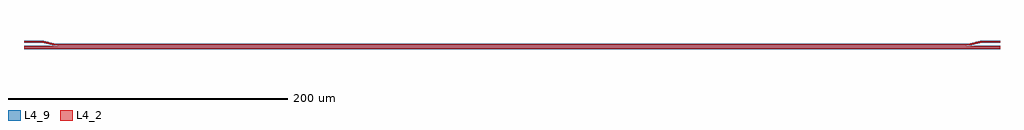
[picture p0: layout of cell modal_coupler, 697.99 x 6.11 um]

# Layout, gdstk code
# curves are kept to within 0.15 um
import gdstk
lib = gdstk.Library(unit=1e-6, precision=5e-09)
def R(c, l, rs):  # rectangles x0, y0, x1, y1
    for r in rs: c.add(gdstk.rectangle(r[:2], r[2:], *l))
def P(c, l, *ps):  # polygons
    for p in ps: c.add(gdstk.Polygon(p, *l))
L4_2 = (4, 2)
L4_9 = (4, 9)

directional_coupler_wg1a = lib.new_cell('Directional_coupler_wg1a')
R(directional_coupler_wg1a, L4_2, [(-322.5,-1.9,0,0)])
P(directional_coupler_wg1a, L4_9, [(-322.5,-2.15),(0,-2.15),(0,-1.9),(0,0),(0,0.25),(-322.5,0.25),(-322.5,0),(-322.5,-1.9)])

directional_coupler_wg2a = lib.new_cell('Directional_coupler_wg2a')
R(directional_coupler_wg2a, L4_2, [(-322.5,0.5,0,1.4)])
P(directional_coupler_wg2a, L4_9, [(-322.5,0.25),(0,0.25),(0,0.5),(0,1.4),(0,1.65),(-322.5,1.65),(-322.5,1.4),(-322.5,0.5)])

directional_coupler_wg1b = lib.new_cell('Directional_coupler_wg1b')
R(directional_coupler_wg1b, L4_2, [(0,-1.9,322.5,0)])
P(directional_coupler_wg1b, L4_9, [(0,-2.15),(322.5,-2.15),(322.5,-1.9),(322.5,0),(322.5,0.25),(0,0.25),(0,0),(0,-1.9)])

directional_coupler_wg2b = lib.new_cell('Directional_coupler_wg2b')
R(directional_coupler_wg2b, L4_2, [(0,0.5,322.5,1.4)])
P(directional_coupler_wg2b, L4_9, [(0,0.25),(322.5,0.25),(322.5,0.5),(322.5,1.4),(322.5,1.65),(0,1.65),(0,1.4),(0,0.5)])

directional_coupler = lib.new_cell('Directional_coupler')
directional_coupler.add(gdstk.Reference(directional_coupler_wg1a, (0,0)))
directional_coupler.add(gdstk.Reference(directional_coupler_wg2a, (0,0)))
directional_coupler.add(gdstk.Reference(directional_coupler_wg1b, (0,0)))
directional_coupler.add(gdstk.Reference(directional_coupler_wg2b, (0,0)))

modal_coupler_wg_in1 = lib.new_cell('modal_coupler_wg_in1')
R(modal_coupler_wg_in1, L4_2, [(-348.995,-1.9,-322.5,0)])
P(modal_coupler_wg_in1, L4_9, [(-322.5,0.25),(-348.995,0.25),(-348.995,0),(-348.995,-1.9),(-348.995,-2.15),(-322.5,-2.15),(-322.5,-1.9),(-322.5,0)])

modal_coupler_wg_in2 = lib.new_cell('modal_coupler_wg_in2')
P(modal_coupler_wg_in2, L4_2, [(-322.5,1.4),(-325.095,1.45),(-327,1.665),(-333.035,3.16),(-336.015,3.63),(-348.995,3.705),(-348.995,2.805),(-335.76,2.705),(-333.24,2.28),(-327.81,0.9),(-325.815,0.6),(-322.5,0.5)])
P(modal_coupler_wg_in2, L4_9, [(-322.5,1.65),(-326.955,1.91),(-333.305,3.475),(-335.995,3.88),(-348.995,3.955),(-348.995,2.555),(-336.1,2.485),(-333.915,2.175),(-328.52,0.8),(-325.84,0.35),(-322.5,0.25)])

modal_coupler_wg_out1 = lib.new_cell('modal_coupler_wg_out1')
R(modal_coupler_wg_out1, L4_2, [(322.5,-1.9,348.995,0)])
P(modal_coupler_wg_out1, L4_9, [(322.5,-2.15),(348.995,-2.15),(348.995,-1.9),(348.995,0),(348.995,0.25),(322.5,0.25),(322.5,0),(322.5,-1.9)])

modal_coupler_wg_out2 = lib.new_cell('modal_coupler_wg_out2')
P(modal_coupler_wg_out2, L4_2, [(322.5,0.5),(325.15,0.55),(327.15,0.775),(333.55,2.35),(335.76,2.705),(348.995,2.805),(348.995,3.705),(338.01,3.7),(335.01,3.53),(333.035,3.16),(327,1.665),(325.095,1.45),(322.5,1.4)])
P(modal_coupler_wg_out2, L4_9, [(322.5,0.25),(327.195,0.53),(333.605,2.11),(336.1,2.485),(348.995,2.555),(348.995,3.955),(337.34,3.94),(334.64,3.73),(326.955,1.91),(322.5,1.65)])

modal_coupler = lib.new_cell('modal_coupler')
modal_coupler.add(gdstk.Reference(directional_coupler, (0,0)))
modal_coupler.add(gdstk.Reference(modal_coupler_wg_in1, (0,0)))
modal_coupler.add(gdstk.Reference(modal_coupler_wg_in2, (0,0)))
modal_coupler.add(gdstk.Reference(modal_coupler_wg_out1, (0,0)))
modal_coupler.add(gdstk.Reference(modal_coupler_wg_out2, (0,0)))

lib.write_gds('modal_coupler.gds')
